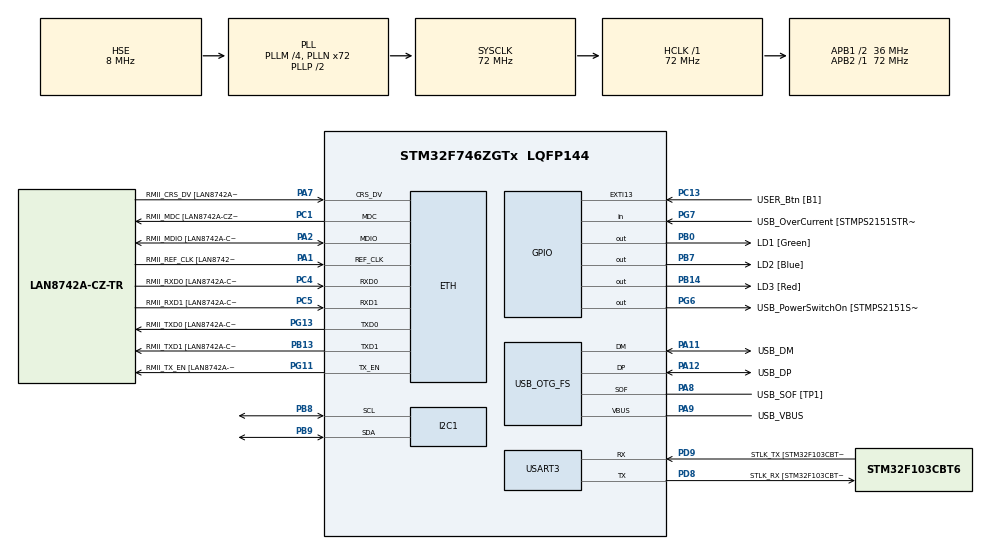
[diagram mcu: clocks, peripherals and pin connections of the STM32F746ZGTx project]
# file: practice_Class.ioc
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CORTEX_M7.default_mode_Activation=1
ETH.MediaInterface=HAL_ETH_RMII_MODE
ETH.PHY_Name=LAN8742A_PHY_ADDRESS
ETH.PHY_Value=0
ETH.PhyAddress=0
I2C1.Timing=0x00808CD2
Mcu.Family=STM32F7
Mcu.Name=STM32F746ZGTx
Mcu.Package=LQFP144
NVIC.PriorityGroup=NVIC_PRIORITYGROUP_4
PA1.GPIO_Label=RMII_REF_CLK [LAN8742A-CZ-TR_REFCLK0]
PA1.Mode=RMII
PA1.Signal=ETH_REF_CLK
PA10.GPIO_Label=USB_ID
PA10.Signal=USB_OTG_FS_ID
PA11.GPIO_Label=USB_DM
PA11.Mode=Device_Only
PA11.Signal=USB_OTG_FS_DM
PA12.GPIO_Label=USB_DP
PA12.Mode=Device_Only
PA12.Signal=USB_OTG_FS_DP
PA13.GPIO_Label=TMS
PA13.Mode=Serial_Wire
PA13.Signal=SYS_JTMS-SWDIO
PA14.GPIO_Label=TCK
PA14.Mode=Serial_Wire
PA14.Signal=SYS_JTCK-SWCLK
PA2.GPIO_Label=RMII_MDIO [LAN8742A-CZ-TR_MDIO]
PA2.Mode=RMII
PA2.Signal=ETH_MDIO
PA7.GPIO_Label=RMII_CRS_DV [LAN8742A-CZ-TR_CRS_DV]
PA7.Mode=RMII
PA7.Signal=ETH_CRS_DV
PA8.GPIO_Label=USB_SOF [TP1]
PA8.Mode=Activate_SOF_FS
PA8.Signal=USB_OTG_FS_SOF
PA9.GPIO_Label=USB_VBUS
PA9.Mode=Activate_VBUS
PA9.Signal=USB_OTG_FS_VBUS
PB0.GPIO_Label=LD1 [Green]
PB0.Signal=GPIO_Output
PB13.GPIO_Label=RMII_TXD1 [LAN8742A-CZ-TR_TXD1]
PB13.Mode=RMII
PB13.Signal=ETH_TXD1
PB14.GPIO_Label=LD3 [Red]
PB14.Signal=GPIO_Output
PB3.GPIO_Label=SW0
PB3.Signal=SYS_JTDO-SWO
PB7.GPIO_Label=LD2 [Blue]
PB7.Signal=GPIO_Output
PB8.Mode=I2C
PB8.Signal=I2C1_SCL
PB9.Mode=I2C
PB9.Signal=I2C1_SDA
PC1.GPIO_Label=RMII_MDC [LAN8742A-CZ-TR_MDC]
PC1.Mode=RMII
PC1.Signal=ETH_MDC
PC13.GPIO_Label=USER_Btn [B1]
PC13.Signal=GPXTI13
PC14/OSC32_IN.Mode=LSE-External-Oscillator
PC14/OSC32_IN.Signal=RCC_OSC32_IN
PC15/OSC32_OUT.Mode=LSE-External-Oscillator
PC15/OSC32_OUT.Signal=RCC_OSC32_OUT
PC4.GPIO_Label=RMII_RXD0 [LAN8742A-CZ-TR_RXD0]
PC4.Mode=RMII
PC4.Signal=ETH_RXD0
PC5.GPIO_Label=RMII_RXD1 [LAN8742A-CZ-TR_RXD1]
PC5.Mode=RMII
PC5.Signal=ETH_RXD1
PD8.GPIO_Label=STLK_RX [STM32F103CBT6_PA3]
PD8.GPIO_PuPd=GPIO_PULLUP
PD8.Mode=Asynchronous
PD8.Signal=USART3_TX
PD9.GPIO_Label=STLK_TX [STM32F103CBT6_PA2]
PD9.GPIO_PuPd=GPIO_PULLUP
PD9.Mode=Asynchronous
PD9.Signal=USART3_RX
PG11.GPIO_Label=RMII_TX_EN [LAN8742A-CZ-TR_TXEN]
PG11.Mode=RMII
PG11.Signal=ETH_TX_EN
PG13.GPIO_Label=RMII_TXD0 [LAN8742A-CZ-TR_TXD0]
PG13.Mode=RMII
PG13.Signal=ETH_TXD0
PG6.GPIO_Label=USB_PowerSwitchOn [STMPS2151STR_EN]
PG6.Signal=GPIO_Output
PG7.GPIO_Label=USB_OverCurrent [STMPS2151STR_FAULT]
PG7.Signal=GPIO_Input
PH0/OSC_IN.GPIO_Label=MCO [STM32F103CBT6_PA8]
PH0/OSC_IN.Mode=HSE-External-Clock-Source
PH0/OSC_IN.Signal=RCC_OSC_IN
PH1/OSC_OUT.Mode=HSE-External-Clock-Source
PH1/OSC_OUT.Signal=RCC_OSC_OUT
ProjectManager.HeapSize=0x200
ProjectManager.StackSize=0x400
ProjectManager.TargetToolchain=STM32CubeIDE
RCC.48MHZClocksFreq_Value=24000000
RCC.AHBFreq_Value=72000000
RCC.APB1CLKDivider=RCC_HCLK_DIV2
RCC.APB1Freq_Value=36000000
RCC.APB1TimFreq_Value=72000000
RCC.APB2Freq_Value=72000000
RCC.APB2TimFreq_Value=72000000
RCC.CortexFreq_Value=72000000
RCC.HCLKFreq_Value=72000000
RCC.HSE_VALUE=8000000
RCC.HSI_VALUE=16000000
RCC.PLLM=4
RCC.PLLMUL=RCC_PLL_MUL9
RCC.PLLN=72
RCC.PLLQ=3
RCC.PRESCALERUSB=RCC_USBCLKSOURCE_PLL_DIV1_5
RCC.SYSCLKFreq_VALUE=72000000
RCC.SYSCLKSource=RCC_SYSCLKSOURCE_PLLCLK
RCC.SYSCLKSourceVirtual=RCC_SYSCLKSOURCE_PLLCLK
RCC.USBFreq_Value=48000000
RCC.VCOOutputFreq_Value=144000000
USART3.VirtualMode-Asynchronous=VM_ASYNC
USB_OTG_FS.VirtualMode=Device_Only
board=NUCLEO-F746ZG

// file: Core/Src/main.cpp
/* USER CODE BEGIN Header */
/**
  ******************************************************************************
  * @file           : main.c
  * @brief          : Main program body
  ******************************************************************************
  * @attention
  *
  * Copyright (c) 2026 STMicroelectronics.
  * All rights reserved.
  *
  * This software is licensed under terms that can be found in the LICENSE file
  * in the root directory of this software component.
  * If no LICENSE file comes with this software, it is provided AS-IS.
  *
  ******************************************************************************
  */
/* USER CODE END Header */
#include "main.h"
#include "eth.h"
#include "i2c.h"
#include "usart.h"
#include "usb_otg.h"
#include "gpio.h"

/* USER CODE BEGIN PTD */
class ButtonLED
{
private:
	GPIO_TypeDef* port;
	uint16_t pin;
	uint8_t oldSw;
	uint8_t mode;
public:
	ButtonLED(GPIO_TypeDef* p, uint16_t b)
	{
		port = p;
		pin = b;
		oldSw = 0;
		mode = 0;
	}
	bool checkClocked()
	{
		uint8_t currentSw = !HAL_GPIO_ReadPin(port, pin);

		if((currentSw != oldSw) && currentSw)
		{
			oldSw = currentSw;
			return true;
		}
		oldSw = currentSw;
		return false;
	}

};
/* USER CODE END PTD */

void SystemClock_Config(void);
static void MPU_Config(void);

/* USER CODE BEGIN 0 */
ButtonLED myBtn1(GPIOC, GPIO_PIN_13);
ButtonLED myBtn2(GPIOC, GPIO_PIN_13);
/* USER CODE END 0 */

int main(void)
{

  /* MPU Configuration--------------------------------------------------------*/
  MPU_Config();

  /* MCU Configuration--------------------------------------------------------*/

  /* Reset of all peripherals, Initializes the Flash interface and the Systick. */
  HAL_Init();

  /* Configure the system clock */
  SystemClock_Config();

  /* Initialize all configured peripherals */
  MX_GPIO_Init();
  MX_ETH_Init();
  MX_I2C1_Init();
  MX_USART3_UART_Init();
  MX_USB_OTG_FS_PCD_Init();

  /* Infinite loop */
  /* USER CODE BEGIN WHILE */
  while (1)
  {
	  if(myBtn1.checkClocked() == true)
	  {
		  HAL_GPIO_TogglePin(GPIOB, GPIO_PIN_7);
	  }
	  if(myBtn2.checkClocked() == true)
	  {
		  HAL_GPIO_TogglePin(GPIOB, GPIO_PIN_0);
	  }
	  HAL_Delay(10);
    /* USER CODE END WHILE */

  }
}

void SystemClock_Config(void)
{
  RCC_OscInitTypeDef RCC_OscInitStruct = {0};
  RCC_ClkInitTypeDef RCC_ClkInitStruct = {0};

  /** Configure LSE Drive Capability
  */
  HAL_PWR_EnableBkUpAccess();

  /** Configure the main internal regulator output voltage
  */
  __HAL_RCC_PWR_CLK_ENABLE();
  __HAL_PWR_VOLTAGESCALING_CONFIG(PWR_REGULATOR_VOLTAGE_SCALE3);

  /** Initializes the RCC Oscillators according to the specified parameters
  * in the RCC_OscInitTypeDef structure.
  */
  RCC_OscInitStruct.OscillatorType = RCC_OSCILLATORTYPE_HSE;
  RCC_OscInitStruct.HSEState = RCC_HSE_BYPASS;
  RCC_OscInitStruct.PLL.PLLState = RCC_PLL_ON;
  RCC_OscInitStruct.PLL.PLLSource = RCC_PLLSOURCE_HSE;
  RCC_OscInitStruct.PLL.PLLM = 4;
  RCC_OscInitStruct.PLL.PLLN = 72;
  RCC_OscInitStruct.PLL.PLLP = RCC_PLLP_DIV2;
  RCC_OscInitStruct.PLL.PLLQ = 3;
  if (HAL_RCC_OscConfig(&RCC_OscInitStruct) != HAL_OK)
  {
    Error_Handler();
  }

  /** Initializes the CPU, AHB and APB buses clocks
  */
  RCC_ClkInitStruct.ClockType = RCC_CLOCKTYPE_HCLK|RCC_CLOCKTYPE_SYSCLK
                              |RCC_CLOCKTYPE_PCLK1|RCC_CLOCKTYPE_PCLK2;
  RCC_ClkInitStruct.SYSCLKSource = RCC_SYSCLKSOURCE_PLLCLK;
  RCC_ClkInitStruct.AHBCLKDivider = RCC_SYSCLK_DIV1;
  RCC_ClkInitStruct.APB1CLKDivider = RCC_HCLK_DIV2;
  RCC_ClkInitStruct.APB2CLKDivider = RCC_HCLK_DIV1;

  if (HAL_RCC_ClockConfig(&RCC_ClkInitStruct, FLASH_LATENCY_2) != HAL_OK)
  {
    Error_Handler();
  }
}

 /* MPU Configuration */

void MPU_Config(void)
{
  MPU_Region_InitTypeDef MPU_InitStruct = {0};

  /* Disables the MPU */
  HAL_MPU_Disable();

  /** Initializes and configures the Region and the memory to be protected
  */
  MPU_InitStruct.Enable = MPU_REGION_ENABLE;
  MPU_InitStruct.Number = MPU_REGION_NUMBER0;
  MPU_InitStruct.BaseAddress = 0x0;
  MPU_InitStruct.Size = MPU_REGION_SIZE_4GB;
  MPU_InitStruct.SubRegionDisable = 0x87;
  MPU_InitStruct.TypeExtField = MPU_TEX_LEVEL0;
  MPU_InitStruct.AccessPermission = MPU_REGION_NO_ACCESS;
  MPU_InitStruct.DisableExec = MPU_INSTRUCTION_ACCESS_DISABLE;
  MPU_InitStruct.IsShareable = MPU_ACCESS_SHAREABLE;
  MPU_InitStruct.IsCacheable = MPU_ACCESS_NOT_CACHEABLE;
  MPU_InitStruct.IsBufferable = MPU_ACCESS_NOT_BUFFERABLE;

  HAL_MPU_ConfigRegion(&MPU_InitStruct);
  /* Enables the MPU */
  HAL_MPU_Enable(MPU_PRIVILEGED_DEFAULT);

}

void Error_Handler(void)
{
  __disable_irq();
  while (1)
  {
  }
}
